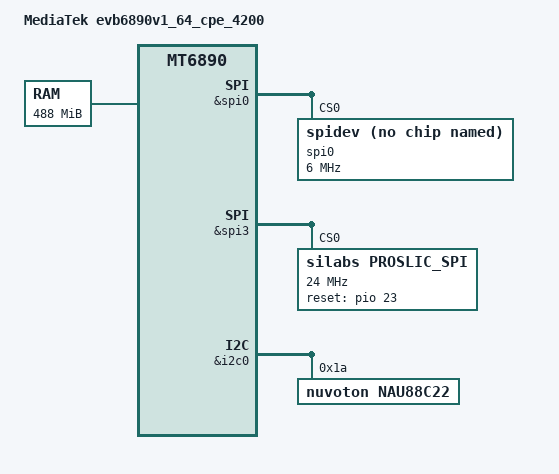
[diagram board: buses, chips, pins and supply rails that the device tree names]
// SPDX-License-Identifier: GPL-2.0
/*
 * Copyright (c) 2019 MediaTek Inc.
 */

/dts-v1/;
#include <dt-bindings/interrupt-controller/irq.h>
#include <dt-bindings/interrupt-controller/arm-gic.h>
#include "mt6890.dtsi"
#include "tcpc_config.dtsi"
#include "rt9467.dtsi"

&reserved_memory {
};

/ {
	model = "MediaTek evb6890v1_64_cpe_4200";
	compatible = "mediatek,evb6890v1_64_cpe_4200", "mediatek,mt6890";

	memory@40000000 {
		device_type = "memory";
		reg = <0 0x40000000 0 0x1e800000>;
	};

	chosen {
		bootargs = "console=tty0 console=ttyS0,921600n1 \
		init=/etc/preinit root=/dev/mmcblk0p32 rootwait \
		loglevel=8 \
		androidboot.selinux=permissive androidboot.hardware=mt6890 \
		initcall_debug=1 page_owner=on";

		atag,videolfb-fb_base_l = <0x7e605000>;
		atag,videolfb-fb_base_h = <0x0>;
		atag,videolfb-islcmfound = <1>;
		atag,videolfb-islcm_inited = <0>;
		atag,videolfb-fps= <6000>;
		atag,videolfb-vramSize= <0x1be0000>;
		atag,videolfb-lcmname=
			"nt35595_fhd_dsi_cmd_truly_nt50358_drv";
	};

	gsw: gsw@0 {
		compatible = "mediatek,mt753x";
		mediatek,ethsys = <&ethsys>;
		#address-cells = <1>;
		#size-cells = <0>;
	};

	subpmic_pmu_eint: subpmic_pmu_eint {
	};

	tcpc_pd: tcpc_pd_eint {
	};
};

/* BEGIN: Remove unused device tree information,modify by haowei.cheng*/
#if 0
&snps_mac {
	phy-mode ="rgmii-rxid";
	phy-handle = <&eth_phy0>;
	status = "disable";
	pinctrl-names = "default", "sleep";
	pinctrl-0 = <&eth_default>;
	pinctrl-1 = <&eth_sleep>;
	snps,reset-gpio = <&pio 24 GPIO_ACTIVE_LOW>;
	snps,reset-active-low;
	mdio {
		compatible = "snps,dwmac-mdio";
		#address-cells = <1>;
		#size-cells = <0>;
		eth_phy0: eth_phy0@5 {
			compatible = "ethernet-phy-ieee802.3-c22";
		};
		eth_phy1: eth_phy1@7 {
			compatible = "ethernet-phy-ieee802.3-c45";
			marvell,88q2110 = <1000 0>;
		};
		eth_phy2: eth_phy2@4 {
			compatible = "ethernet-phy-id0180.DD00";
		};
	};
};
#endif
/* END: Remove unused device tree information,modify by haowei.cheng */


/* BEGIN: support realtek eth phy,modify by haowei.cheng*/
&eth {
	pinctrl-names = "eth_gpio_default",
		"eth_smi_mdio_pinctl",
		"eth_smi_mdc_pinctl";
	pinctrl-0 = <&eth_gpio_default>;
	pinctrl-1 = <&eth_smi_mdio_pinctl>;
	pinctrl-2 = <&eth_smi_mdc_pinctl>;
	status = "okay";
	gmac0: mac@0 {
		compatible = "mediatek,eth-mac";
		fg360,phy_name = "aqr112c";
		reg = <0>;
		phy-mode = "sgmii";
		phy-handle = <&phy8>;
	};
	gmac1: mac@1 {
		compatible = "mediatek,eth-mac";
		reg = <1>;
		fg360,phy_name = "mt7531AE";
		phy-mode = "sgmii";
		fixed-link {
			speed = <1000>;
			full-duplex;
			pause;
		};
	};
	gmac3: mac@3 {
		compatible = "mediatek,eth-mac";
		fg360,phy_name = "rtl8221b";
		reg = <0>;
		phy-mode = "sgmii";
		phy-handle = <&phy1>;
	};
	gmac4: mac@4 {
		compatible = "mediatek,eth-mac";
		fg360,phy_name = "rtl8211fs";
		reg = <1>;
		phy-mode = "sgmii";
		phy-handle = <&phy3>;
	};
	gmac5: mac@5 {
		compatible = "mediatek,eth-mac_def";
		fg360,phy_name = "MAC0";
		reg = <0>;
		phy-mode = "sgmii";
		fixed-link {
			speed = <1000>;
			full-duplex;
			pause;
		};
	};
	gmac6: mac@6 {
		compatible = "mediatek,eth-mac_def";
		fg360,phy_name = "MAC1";
		reg = <1>;
		phy-mode = "sgmii";
		fixed-link {
			speed = <1000>;
			full-duplex;
			pause;
		};
	};

	mdio: mdio-bus {
		#address-cells = <1>;
		#size-cells = <0>;
		phy1reset-gpios = <&pio 66 0>;
		/*RTL8221B8*/
		phy1: phy@1 {
			reg = <1>;
			phy-mode = "sgmii";
			compatible = "ethernet-phy-ieee802.3-c22";
		};
		//RTL8211FS
		phy3: phy@3 {
			reg = <3>;
			phy-mode = "sgmii";
			compatible = "ethernet-phy-ieee802.3-c22";
		};
		//AQR112C
		phy8: phy@8 {
			reg = <8>;
			phy-mode = "sgmii";
			compatible = "ethernet-phy-ieee802.3-c45";
		};
		//MT7531
		phy31: phy@31 {
			reg = <31>;
			phy-mode = "sgmii";
			compatible = "ethernet-phy-ieee802.3-c22";
		};
	};
};
/* END: support realtek eth phy,modify by haowei.cheng*/


&gsw {
	mediatek,mdio = <&mdio>;
	mediatek,portmap = "llllw";
	mediatek,mdio_master_pinmux = <0>;
	reset-gpios = <&pio 66 0>;
	interrupt-parent = <&pio>;
	interrupts = <65 IRQ_TYPE_LEVEL_HIGH>;

	status = "okay";

	port5: port@5 {
		compatible = "mediatek,mt753x-port";
		reg = <5>;
		phy-mode = "sgmii";
		fixed-link {
			speed = <2500>;
			full-duplex;
		};
	};
};

&pcie0 {
	max-link-speed = <2>;
	pinctrl-names = "default";
	pinctrl-0 = <&pcie0_pins_default>;
	status = "okay";
};

&pcie1 {
	max-link-speed = <2>;
	pinctrl-names = "default";
	pinctrl-0 = <&pcie1_pins_default>;
	status = "okay";
};

&pcie2 {
	max-link-speed = <3>;
	pinctrl-names = "default";
	pinctrl-0 = <&pcie2_pins_default>;
	status = "okay";
};

&pcie3 {
	max-link-speed = <3>;
	pinctrl-names = "default";
	pinctrl-0 = <&pcie3_pins_default>;
	status = "okay";
};

/*
&odm {
	vibrator0:vibrator@0 {
		compatible = "mediatek,vibrator";
		vib_timer = <25>;
		vib_limit = <9>;
		vib_vol= <9>;
	};
};*/

/*begin: add by laizhenhao for audio pinctrl*/
/* AUDIO GPIO standardization */
&afe {
	pinctrl-names = "aud_dat_miso_off", "aud_dat_miso_on",
			"aud_dat_mosi_off", "aud_dat_mosi_on",
			"aud_gpio_i2s0_off", "aud_gpio_i2s0_on",
			"aud_gpio_i2s1_off", "aud_gpio_i2s1_on",
			"aud_gpio_i2s2_off", "aud_gpio_i2s2_on",
			"aud_gpio_i2s3_off", "aud_gpio_i2s3_on",
            "aud_gpio_i2s4_off", "aud_gpio_i2s4_on",
			"aud_gpio_i2s5_off", "aud_gpio_i2s5_on",
			"aud_gpio_i2s6_off", "aud_gpio_i2s6_on",
			"vow_dat_miso_off", "vow_dat_miso_on",
			"vow_clk_miso_off", "vow_clk_miso_on",
			"aud_gpio_proslic_off", "aud_gpio_proslic_on",
			"aud_gpio_tdm_off", "aud_gpio_tdm_on";
	pinctrl-0 = <&aud_dat_mosi_off>;
	pinctrl-1 = <&aud_dat_mosi_on>;
	pinctrl-2 = <&aud_dat_miso_off>;
	pinctrl-3 = <&aud_dat_miso_on>;
	pinctrl-4 = <&aud_gpio_i2s0_off>;
	pinctrl-5 = <&aud_gpio_i2s0_on>;
	pinctrl-6 = <&aud_gpio_i2s1_off>;
	pinctrl-7 = <&aud_gpio_i2s1_on>;
	pinctrl-8 = <&aud_gpio_i2s2_off>;
	pinctrl-9 = <&aud_gpio_i2s2_on>;
	pinctrl-10 = <&aud_gpio_i2s3_off>;
	pinctrl-11 = <&aud_gpio_i2s3_on>;
	pinctrl-12 = <&aud_gpio_i2s4_off>;
	pinctrl-13 = <&aud_gpio_i2s4_on>;
	pinctrl-14 = <&aud_gpio_i2s5_off>;
	pinctrl-15 = <&aud_gpio_i2s5_on>;
	pinctrl-16 = <&aud_gpio_i2s6_off>;
	pinctrl-17 = <&aud_gpio_i2s6_on>;
	pinctrl-18 = <&vow_dat_miso_off>;
	pinctrl-19 = <&vow_dat_miso_on>;
	pinctrl-20 = <&vow_clk_miso_off>;
	pinctrl-21 = <&vow_clk_miso_on>;
	pinctrl-22 = <&aud_gpio_proslic_off>;
	pinctrl-23 = <&aud_gpio_proslic_on>;
	pinctrl-24 = <&aud_gpio_tdm_off>;
	pinctrl-25 = <&aud_gpio_tdm_on>;
	status = "okay";
};

&pio {
	/* set audio pinctrl status */
	aud_dat_mosi_off: aud_dat_mosi_off {
	};
	aud_dat_mosi_on: aud_dat_mosi_on {
	};
	aud_dat_miso_off: aud_dat_miso_off {
	};
	aud_dat_miso_on: aud_dat_miso_on {
	};
	vow_dat_miso_off: vow_dat_miso_off {
	};
	vow_dat_miso_on: vow_dat_miso_on {
	};
	vow_clk_miso_off: vow_clk_miso_off {
	};
	vow_clk_miso_on: vow_clk_miso_on {
	};
	aud_gpio_i2s0_off: aud_gpio_i2s0_off {
		pins_cmd0_dat {
			pinmux = <PINMUX_GPIO230__FUNC_GPIO230>;
			input-enable;
			bias-pull-down;
		};
		pins_cmd1_dat {
			pinmux = <PINMUX_GPIO231__FUNC_GPIO231>;
			input-enable;
			bias-pull-down;
		};
		pins_cmd2_dat {
			pinmux = <PINMUX_GPIO232__FUNC_GPIO232>;
			input-enable;
			bias-pull-down;
		};
		pins_cmd3_dat {
			pinmux = <PINMUX_GPIO233__FUNC_GPIO233>;
			input-enable;
			bias-pull-down;
		};
	};
	aud_gpio_i2s0_on: aud_gpio_i2s0_on {
		pins_cmd0_dat {
			pinmux = <PINMUX_GPIO230__FUNC_I2S0_MCK>;
			input-schmitt-enable;
			bias-disable;
		};
		pins_cmd1_dat {
			pinmux = <PINMUX_GPIO231__FUNC_I2S0_BCK>;
			input-schmitt-enable;
			bias-disable;
		};
		pins_cmd2_dat {
			pinmux = <PINMUX_GPIO232__FUNC_I2S0_LRCK>;
			input-schmitt-enable;
			bias-disable;
		};
		pins_cmd3_dat {
			pinmux = <PINMUX_GPIO233__FUNC_I2S0_DI>;
			input-schmitt-enable;
			bias-disable;
		};
	};
	aud_gpio_i2s1_off: aud_gpio_i2s1_off {
		pins_cmd0_dat {
			pinmux = <PINMUX_GPIO91__FUNC_GPIO91>;
			input-enable;
			bias-pull-down;
		};
		pins_cmd1_dat {
			pinmux = <PINMUX_GPIO92__FUNC_GPIO92>;
			input-enable;
			bias-pull-down;
		};
		pins_cmd2_dat {
			pinmux = <PINMUX_GPIO93__FUNC_GPIO93>;
			input-enable;
			bias-pull-down;
		};
		pins_cmd3_dat {
			pinmux = <PINMUX_GPIO95__FUNC_GPIO95>;
			input-enable;
			bias-pull-down;
		};
	};
	aud_gpio_i2s1_on: aud_gpio_i2s1_on {
		pins_cmd0_dat {
			pinmux = <PINMUX_GPIO91__FUNC_I2S2_MCK>;
			input-schmitt-enable;
			bias-disable;
		};
		pins_cmd1_dat {
			pinmux = <PINMUX_GPIO92__FUNC_I2S2_BCK>;
			input-schmitt-enable;
			bias-disable;
		};
		pins_cmd2_dat {
			pinmux = <PINMUX_GPIO93__FUNC_I2S2_LRCK>;
			input-schmitt-enable;
			bias-disable;
		};
		pins_cmd3_dat {
			pinmux = <PINMUX_GPIO95__FUNC_I2S1_DO>;
			input-schmitt-enable;
			bias-disable;
		};
	};
	aud_gpio_i2s2_off: aud_gpio_i2s2_off {
		pins_cmd0_dat {
			pinmux = <PINMUX_GPIO91__FUNC_GPIO91>;
			input-enable;
			bias-pull-down;
		};
		pins_cmd1_dat {
			pinmux = <PINMUX_GPIO92__FUNC_GPIO92>;
			input-enable;
			bias-pull-down;
		};
		pins_cmd2_dat {
			pinmux = <PINMUX_GPIO93__FUNC_GPIO93>;
			input-enable;
			bias-pull-down;
		};
		pins_cmd3_dat {
			pinmux = <PINMUX_GPIO94__FUNC_GPIO94>;
			input-enable;
			bias-pull-down;
		};
	};
	aud_gpio_i2s2_on: aud_gpio_i2s2_on {
		pins_cmd0_dat {
			pinmux = <PINMUX_GPIO91__FUNC_I2S2_MCK>;
			input-schmitt-enable;
			bias-disable;
		};
		pins_cmd1_dat {
			pinmux = <PINMUX_GPIO92__FUNC_I2S2_BCK>;
			input-schmitt-enable;
			bias-disable;
		};
		pins_cmd2_dat {
			pinmux = <PINMUX_GPIO93__FUNC_I2S2_LRCK>;
			input-schmitt-enable;
			bias-disable;
		};
		pins_cmd3_dat {
			pinmux = <PINMUX_GPIO94__FUNC_I2S2_DI>;
			input-schmitt-enable;
			bias-disable;
		};
	};
	aud_gpio_i2s3_off: aud_gpio_i2s3_off {
		pins_cmd0_dat {
			pinmux = <PINMUX_GPIO230__FUNC_GPIO230>;
			input-enable;
			bias-pull-down;
		};
		pins_cmd1_dat {
			pinmux = <PINMUX_GPIO231__FUNC_GPIO231>;
			input-enable;
			bias-pull-down;
		};
		pins_cmd2_dat {
			pinmux = <PINMUX_GPIO232__FUNC_GPIO232>;
			input-enable;
			bias-pull-down;
		};
		pins_cmd3_dat {
			pinmux = <PINMUX_GPIO234__FUNC_GPIO234>;
			input-enable;
			bias-pull-down;
		};
	};
	aud_gpio_i2s3_on: aud_gpio_i2s3_on {
		pins_cmd0_dat {
			pinmux = <PINMUX_GPIO230__FUNC_I2S0_MCK>;
			input-schmitt-enable;
			bias-disable;
		};
		pins_cmd1_dat {
			pinmux = <PINMUX_GPIO231__FUNC_I2S0_BCK>;
			input-schmitt-enable;
			bias-disable;
		};
		pins_cmd2_dat {
			pinmux = <PINMUX_GPIO232__FUNC_I2S0_LRCK>;
			input-schmitt-enable;
			bias-disable;
		};
		pins_cmd3_dat {
			pinmux = <PINMUX_GPIO234__FUNC_I2S0_DO>;
			input-schmitt-enable;
			bias-disable;
		};
	};
	aud_gpio_i2s4_off: aud_gpio_i2s4_off {
	};
	aud_gpio_i2s4_on: aud_gpio_i2s4_on {
	};
	aud_gpio_i2s5_off: aud_gpio_i2s5_off {
	};
	aud_gpio_i2s5_on: aud_gpio_i2s5_on {
	};
	aud_gpio_i2s6_off: aud_gpio_i2s6_off {
	};
	aud_gpio_i2s6_on: aud_gpio_i2s6_on {
	};

	aud_gpio_proslic_off: aud_gpio_proslic_off {
		pins_cmd_dat {
			pinmux = <PINMUX_GPIO231__FUNC_GPIO231>,
				 <PINMUX_GPIO232__FUNC_GPIO232>,
				 <PINMUX_GPIO233__FUNC_GPIO233>,
				 <PINMUX_GPIO234__FUNC_GPIO234>;
		};
	};
	aud_gpio_proslic_on: aud_gpio_proslic_on {
		pins_cmd_dat {
			pinmux = <PINMUX_GPIO231__FUNC_PCM1_CLK>,
				 <PINMUX_GPIO232__FUNC_PCM1_SYNC>,
				 <PINMUX_GPIO233__FUNC_PCM1_DI>,
				 <PINMUX_GPIO234__FUNC_PCM1_DO>;
		};
	};
	aud_gpio_tdm_off: aud_gpio_tdm_off {
		pins_cmd_dat {
			pinmux = <PINMUX_GPIO199__FUNC_GPIO199>,
				 <PINMUX_GPIO200__FUNC_GPIO200>,
				 <PINMUX_GPIO201__FUNC_GPIO201>,
				 <PINMUX_GPIO202__FUNC_GPIO202>,
				 <PINMUX_GPIO203__FUNC_GPIO203>,
				 <PINMUX_GPIO204__FUNC_GPIO204>,
				 <PINMUX_GPIO205__FUNC_GPIO205>;
		};
	};
	aud_gpio_tdm_on: aud_gpio_tdm_on {
		pins_cmd_dat {
			pinmux = <PINMUX_GPIO199__FUNC_TDM_LRCK>,
				 <PINMUX_GPIO200__FUNC_TDM_BCK>,
				 <PINMUX_GPIO201__FUNC_TDM_MCK>,
				 <PINMUX_GPIO202__FUNC_TDM_DATA0>,
				 <PINMUX_GPIO203__FUNC_TDM_DATA1>,
				 <PINMUX_GPIO204__FUNC_TDM_DATA2>,
				 <PINMUX_GPIO205__FUNC_TDM_DATA3>;
		};
	};
};
/* AUDIO GPIO standardization end */

/*end: add by laizhenhao for audio pinctrl*/

/* DISPSYS GPIO standardization */
#if 0
&pio {
	mtkfb_pins_lcd_bias_enp1: lcd_bias_enp1_gpio {
		pins_cmd_dat {
			pinmux = <PINMUX_GPIO28__FUNC_GPIO28>;
			slew-rate = <1>;
			output-high;
		};
	};

	mtkfb_pins_lcd_bias_enp0: lcd_bias_enp0_gpio {
		pins_cmd_dat {
			pinmux = <PINMUX_GPIO28__FUNC_GPIO28>;
			slew-rate = <1>;
			output-low;
		};
	};

	mtkfb_pins_lcd_bias_enn1: lcd_bias_enn1_gpio {
		pins_cmd_dat {
			pinmux = <PINMUX_GPIO29__FUNC_GPIO29>;
			slew-rate = <1>;
			output-high;
		};
	};

	mtkfb_pins_lcd_bias_enn0: lcd_bias_enn0_gpio {
		pins_cmd_dat {
			pinmux = <PINMUX_GPIO29__FUNC_GPIO29>;
			slew-rate = <1>;
			output-low;
		};
	};

	mtkfb_pins_lcm_rst_out1_gpio: lcm_rst_out1_gpio {
		pins_cmd_dat {
			pinmux = <PINMUX_GPIO42__FUNC_GPIO42>;
			slew-rate = <1>;
			output-high;
		};
	};

	mtkfb_pins_lcm_rst_out0_gpio: lcm_rst_out0_gpio {
		pins_cmd_dat {
			pinmux = <PINMUX_GPIO42__FUNC_GPIO42>;
			slew-rate = <1>;
			output-low;
		};
	};
	mtkfb_pins_lcm_dsi_te: lcm_dsi_te {
		pins_cmd_dat {
			pinmux = <PINMUX_GPIO41__FUNC_DSI_TE>;
		};
	};
};

&mtkfb {
	pinctrl-names = "lcd_bias_enp1_gpio", "lcd_bias_enp0_gpio",
		"lcd_bias_enn1_gpio", "lcd_bias_enn0_gpio",
		"lcm_rst_out1_gpio", "lcm_rst_out0_gpio",
		"mode_te_te";
	pinctrl-0 = <&mtkfb_pins_lcd_bias_enp1>;
	pinctrl-1 = <&mtkfb_pins_lcd_bias_enp0>;
	pinctrl-2 = <&mtkfb_pins_lcd_bias_enn1>;
	pinctrl-3 = <&mtkfb_pins_lcd_bias_enn0>;
	pinctrl-4 = <&mtkfb_pins_lcm_rst_out1_gpio>;
	pinctrl-5 = <&mtkfb_pins_lcm_rst_out0_gpio>;
	pinctrl-6 = <&mtkfb_pins_lcm_dsi_te>;
	status = "okay";
};
#endif


/*<!-- BEGIN: fibocom modified-->  */
&spi0 {
	#address-cells = <1>;
	#size-cells = <0>;
	status = "okay";
	spi0@0 {
		compatible = "rohm,dh2228fv";
		reg = <0>;
		spi-max-frequency = <6000000>;
	};
};
/*<!-- END: fibocom modified-->  */


&spi3 {
	status = "okay";
	#address-cells=<1>;
	#size-cells=<0>;

	proslic_spi: proslic_spi@0 {
		compatible = "silabs,proslic_spi";
		reg = <0>;
		spi-max-frequency = <24000000>;
		spi-cpha = <1>;
		spi-cpol = <1>;
		channel_count = <1>;
		debug_level = <7>;       /* 1 = TRC, 2 = DBG, 4 = ERR */
		reset_gpio = <&pio 23 0>;       /* Hz */
		ig,enable-spi = <1>;                /* 1: Enable, 0: Disable */
	};
};

/*begin: modify audio codec function,by laizhenhao,2021.05.31*/
&i2c0 {
	status = "okay";
	#address-cells=<1>;
	#size-cells=<0>;

	nau88c22: nau88c22@1a {
		compatible = "nuvoton,nau88c22";
		reg = <0x1a>;
	};

};
/*end: modify audio codec function,by laizhenhao,2021.05.31*/

/* GPS GPIO standardization start */
#if 1
&pio {

	eth_gpio_default: mdio_default {
		mux {
			pinmux = <PINMUX_GPIO61__FUNC_GPIO61>;
		};
	};

	eth_smi_mdio_pinctl: eth_smi_mdio_pinctl {
		mux {
			pinmux = <PINMUX_GPIO61__FUNC_SMI_MDIO>;
		};
	};

	eth_smi_mdc_pinctl: eth_smi_mdc_pinctl {
		mux {
			pinmux = <PINMUX_GPIO62__FUNC_SMI_MDC>;
		};
	};

/* BEGIN: Remove unused device tree information,modify by haowei.cheng*/
#if 0
	eth_default: eth_default {
		txd_pins {
			pinmux = <PINMUX_GPIO8__FUNC_GBE_TXD3>,
				 <PINMUX_GPIO9__FUNC_GBE_TXD2>,
				 <PINMUX_GPIO10__FUNC_GBE_TXD1>,
				 <PINMUX_GPIO11__FUNC_GBE_TXD0>;
			drive-strength = <MTK_DRIVE_8mA>;
		};
		cc_pins {
			pinmux = <PINMUX_GPIO18__FUNC_GBE_TXC>,
				 <PINMUX_GPIO21__FUNC_GBE_TXEN>,
				 <PINMUX_GPIO20__FUNC_GBE_RXDV>,
				 <PINMUX_GPIO19__FUNC_GBE_RXC>;
			drive-strength = <MTK_DRIVE_8mA>;
		};
		rxd_pins {
			pinmux = <PINMUX_GPIO14__FUNC_GBE_RXD3>,
				 <PINMUX_GPIO15__FUNC_GBE_RXD2>,
				 <PINMUX_GPIO16__FUNC_GBE_RXD1>,
				 <PINMUX_GPIO17__FUNC_GBE_RXD0>;
		};
		mdio_pins {
			pinmux = <PINMUX_GPIO12__FUNC_GBE_MDC>,
				 <PINMUX_GPIO13__FUNC_GBE_MDIO>;
			input-enable;
		};
	};

	eth_sleep: eth_sleep {
		txd_pins {
			pinmux = <PINMUX_GPIO8__FUNC_GPIO8>,
				 <PINMUX_GPIO9__FUNC_GPIO9>,
				 <PINMUX_GPIO10__FUNC_GPIO10>,
				 <PINMUX_GPIO11__FUNC_GPIO11>;
		};
		cc_pins {
			pinmux = <PINMUX_GPIO18__FUNC_GPIO18>,
				 <PINMUX_GPIO21__FUNC_GPIO21>,
				 <PINMUX_GPIO20__FUNC_GPIO20>,
				 <PINMUX_GPIO19__FUNC_GPIO19>;
		};
		rxd_pins {
			pinmux = <PINMUX_GPIO14__FUNC_GPIO14>,
				 <PINMUX_GPIO15__FUNC_GPIO15>,
				 <PINMUX_GPIO16__FUNC_GPIO16>,
				 <PINMUX_GPIO17__FUNC_GPIO17>;
		};
		mdio_pins {
			pinmux = <PINMUX_GPIO12__FUNC_GPIO12>,
				 <PINMUX_GPIO13__FUNC_GPIO13>;
			input-disable;
			bias-disable;
		};
	};
#endif
/*END: Remove unused device tree information,modify by haowei.cheng*/

	pcie0_pins_default: pcie0-default {
		mux {
			pinmux = <PINMUX_GPIO67__FUNC_PCIE_PERESET_N_0P>,
			         <PINMUX_GPIO68__FUNC_PCIE_WAKE_N_0P>,
				 <PINMUX_GPIO69__FUNC_PCIE_CLKREQ_N_0P>;
			bias-pull-up;
		};
	};

	pcie1_pins_default: pcie1-default {
		mux {
			pinmux = <PINMUX_GPIO70__FUNC_PCIE_PERESET_N_1P>,
			         <PINMUX_GPIO71__FUNC_PCIE_WAKE_N_1P>,
				 <PINMUX_GPIO72__FUNC_PCIE_CLKREQ_N_1P>;
			bias-pull-up;
		};
	};

	pcie2_pins_default: pcie2-default {
		mux {
			pinmux = <PINMUX_GPIO73__FUNC_PCIE_PERESET_N_2P>,
			         <PINMUX_GPIO74__FUNC_PCIE_WAKE_N_2P>,
				 <PINMUX_GPIO75__FUNC_PCIE_CLKREQ_N_2P>;
			bias-pull-up;
		};
	};

	pcie3_pins_default: pcie3-default {
		mux {
			pinmux = <PINMUX_GPIO76__FUNC_PCIE_PERESET_N_3P>,
			         <PINMUX_GPIO77__FUNC_PCIE_WAKE_N_3P>,
				 <PINMUX_GPIO78__FUNC_PCIE_CLKREQ_N_3P>;
			bias-pull-up;
		};
	};

	gps_pins_default: gps_default {
	};

	gps_l1_lna_pins_ol: gps_l1_lna@0 {
		pins_cmd_dat {
			pinmux = <PINMUX_GPIO125__FUNC_GPIO125>;
			output-low;
		};
	};
	gps_l1_lna_pins_dsp_ctrl: gps_l1_lna@1 {
		pins_cmd_dat {
			pinmux = <PINMUX_GPIO125__FUNC_GPS_L1_ELNA_EN>;
		};
	};
	gps_l1_lna_pins_oh: gps_l1_lna@2 {
		pins_cmd_dat {
			pinmux = <PINMUX_GPIO125__FUNC_GPIO125>;
			output-high;
		};
	};

	gps_l5_lna_pins_ol: gps_l5_lna@0 {
		pins_cmd_dat {
			pinmux = <PINMUX_GPIO126__FUNC_GPIO126>;
			output-low;
		};
	};
	gps_l5_lna_pins_dsp_ctrl: gps_l5_lna@1 {
		pins_cmd_dat {
			pinmux = <PINMUX_GPIO126__FUNC_GPS_L5_ELNA_EN>;
		};
	};
	gps_l5_lna_pins_oh: gps_l5_lna@2 {
		pins_cmd_dat {
			pinmux = <PINMUX_GPIO126__FUNC_GPIO126>;
			output-high;
		};
	};
};

&gps {
	pinctrl-names = "default",
		"gps_l1_lna_disable",
		"gps_l1_lna_dsp_ctrl",
		"gps_l1_lna_enable",
		"gps_l5_lna_disable",
		"gps_l5_lna_dsp_ctrl",
		"gps_l5_lna_enable";
	pinctrl-0 = <&gps_pins_default>;
	pinctrl-1 = <&gps_l1_lna_pins_ol>;
	pinctrl-2 = <&gps_l1_lna_pins_dsp_ctrl>;
	pinctrl-3 = <&gps_l1_lna_pins_oh>;
	pinctrl-4 = <&gps_l5_lna_pins_ol>;
	pinctrl-5 = <&gps_l5_lna_pins_dsp_ctrl>;
	pinctrl-6 = <&gps_l5_lna_pins_oh>;
	status = "okay";
};
#endif
/* GPS GPIO standardization end */

/* usb typec swtich */
&pio {
	c1_active: c1_high {
		pins_cmd_dat {
			pinmux = <PINMUX_GPIO95__FUNC_GPIO95>;
			output-high;
		};
	};

	c2_active: c2_highz {
		pins_cmd_dat {
			pinmux = <PINMUX_GPIO94__FUNC_GPIO94>;
			input-enable;
			bias-disable;
		};
	};

	c1_sleep: c1_low {
		pins_cmd_dat {
			pinmux = <PINMUX_GPIO95__FUNC_GPIO95>;
			output-low;
		};
	};

	c2_sleep: c2_low {
		pins_cmd_dat {
			pinmux = <PINMUX_GPIO94__FUNC_GPIO94>;
			output-low;
		};
	};

	sel_up: sel_high {
		pins_cmd_dat {
			pinmux = <PINMUX_GPIO93__FUNC_GPIO93>;
			output-high;
		};
	};

	sel_down: sel_low {
		pins_cmd_dat {
			pinmux = <PINMUX_GPIO93__FUNC_GPIO93>;
			output-low;
		};
	};

	sw_enable: sw_enable {
		pins_cmd_dat {
			pinmux = <PINMUX_GPIO92__FUNC_GPIO92>;
			output-low;
		};
	};

	sw_disable: sw_disable {
		pins_cmd_dat {
			pinmux = <PINMUX_GPIO92__FUNC_GPIO92>;
			output-low;
		};
	};
	kpd_gpios_def_cfg: kpdgpiodefault {
		pins_cmd_dat {
			pinmux = <PINMUX_GPIO114__FUNC_KPROW0>,
				<PINMUX_GPIO115__FUNC_KPROW1>;
			mediatek,pull-down-adv = <MTK_PUPD_SET_R1R0_01>;
			output-low;
			input-schmitt-enable;
		};
	};
};

&keypad {
	mediatek,key-debounce-ms = <1024>;
	/*HW Keycode [0~71] -> Linux Keycode*/
	mediatek,hw-map-num = <72>;
	mediatek,hw-init-map = <0 0 114 0 0 0 0 0 0 0 0 0 0 0 0 115 0 0 0 0 0 0 0
		0 0 0 0 0 112 0 0 0 0 0 0 0 0 0 0 0 0 0 0 0 0 0 0 0 0 0 0 0 0 0 0
		0 0 0 0 0 0 0 0 0 0 0 0 0 0 0 0 0 >;
	status = "okay";
	pinctrl-names = "default";
	pinctrl-0 = <&kpd_gpios_def_cfg>;
};

&typec_switch {
	switch-names = "ptn36241g","fusb304";
	pinctrl-names = "c1_active", "c1_sleep",
		"c2_active", "c2_sleep",
		"sel_up", "sel_down",
		"enable", "disable";
	/* ptn36241g */
	pinctrl-0 = <&c1_active>;
	pinctrl-1 = <&c1_sleep>;
	pinctrl-2 = <&c2_active>;
	pinctrl-3 = <&c2_sleep>;
	/* fusb304 */
	pinctrl-4 = <&sel_up>;
	pinctrl-5 = <&sel_down>;
	pinctrl-6 = <&sw_enable>;
	pinctrl-7 = <&sw_disable>;
};

&extcon_usb {
	vbus-supply = <&otg_vbus>;
	vbus-voltage = <5000000>;
	vbus-current = <1800000>;
};

&rt1711_typec {
	switch = <&typec_switch>;
};

/*BEGIN: add by ranxuefeng for HW version*/
&fibocom_pcb_version_ctrl_pin {
	status = "okay";
	pinctrl-names = "pcb_pin_1st_pullup", "pcb_pin_1st_pulldown", "pcb_pin_2nd_pullup", "pcb_pin_2nd_pulldown";
	pinctrl-0 = <&pcb_pin_1st_pullup_default>;
	pinctrl-1 = <&pcb_pin_1st_pulldown_default>;
	pinctrl-2 = <&pcb_pin_2nd_pullup_default>;
	pinctrl-3 = <&pcb_pin_2nd_pulldown_default>;
};
	
&pio {
	pcb_pin_1st_pullup_default: pcb_pin_1st_pullup-config {
		pins_cmd_dat {
			pinmux = <PINMUX_GPIO151__FUNC_GPIO151>;
			bias-pull-up;     
		};
	};
	
	pcb_pin_1st_pulldown_default: pcb_pin_1st_pulldown-config {
		pins_cmd_dat {
			pinmux = <PINMUX_GPIO151__FUNC_GPIO151>;
			bias-pull-down;     
		};
	};
	
	pcb_pin_2nd_pullup_default: pcb_pin_2nd_pullup-config {
		pins_cmd_dat {
			pinmux = <PINMUX_GPIO163__FUNC_GPIO163>;
			bias-pull-up;     
		};
	};
	
	pcb_pin_2nd_pulldown_default: pcb_pin_2nd_pulldown-config {
		pins_cmd_dat {
			pinmux = <PINMUX_GPIO163__FUNC_GPIO163>;
			bias-pull-down;     
		};
	};
	
};
/*END: add by ranxuefeng for HW version*/

/*BEGIN: add by chenmaming for rf set*/
&fibocom_rf_set_ctrl_pin {
	status = "okay";
	pinctrl-names = "rf_set_pin_1st_pullup", "rf_set_pin_1st_pulldown", "rf_set_pin_2nd_pullup", "rf_set_pin_2nd_pulldown";
	pinctrl-0 = <&rf_set_pin_1st_pullup_default>;
	pinctrl-1 = <&rf_set_pin_1st_pulldown_default>;
	pinctrl-2 = <&rf_set_pin_2nd_pullup_default>;
	pinctrl-3 = <&rf_set_pin_2nd_pulldown_default>;
};
	
&pio {
	rf_set_pin_1st_pullup_default: rf_set_pin_1st_pullup-config {
		pins_cmd_dat {
			pinmux = <PINMUX_GPIO142__FUNC_GPIO142>;
			bias-pull-up;     
		};
	};
	
	rf_set_pin_1st_pulldown_default: rf_set_pin_1st_pulldown-config {
		pins_cmd_dat {
			pinmux = <PINMUX_GPIO142__FUNC_GPIO142>;
			bias-pull-down;     
		};
	};
	
	rf_set_pin_2nd_pullup_default: rf_set_pin_2nd_pullup-config {
		pins_cmd_dat {
			pinmux = <PINMUX_GPIO143__FUNC_GPIO143>;
			bias-pull-up;     
		};
	};
	
	rf_set_pin_2nd_pulldown_default: rf_set_pin_2nd_pulldown-config {
		pins_cmd_dat {
			pinmux = <PINMUX_GPIO143__FUNC_GPIO143>;
			bias-pull-down;     
		};
	};
	
};
/*END: add by chenmaming for rf set*/

/*************************
 * PMIC LED DTSI File
*************************/
// Begin: FG360 boot time management, Add by Shuai Liu, 2021.06.11
&pmic {
	mt6330-led {
		compatible = "mediatek,mt6330_leds";
		Isink1 {
			reg = <1>;
			label = "led9515:green:cellular-radio";
			linux,default-trigger = "none";
			default-state = "off";
		};
	};
};
// End: FG360 boot time management, Add by Shuai Liu, 2021.06.11

&gpio_leds {
	    led0 {
            label = "wifi_led";
            gpios = <&pio 4 GPIO_ACTIVE_HIGH>;
            linux,default-trigger = "none";
            default-state = "off";
        };
	    led1 {
            label = "status_led";
            gpios = <&pio 22 GPIO_ACTIVE_HIGH>;
            linux,default-trigger = "none";
            default-state = "off";
        };
	    led2 {
            label = "5g_led";
            gpios = <&pio 8 GPIO_ACTIVE_HIGH>;
            linux,default-trigger = "none";
            default-state = "off";
        };
	    led3 {
            label = "4g_led";
            gpios = <&pio 5 GPIO_ACTIVE_HIGH>;
            linux,default-trigger = "none";
            default-state = "off";
        };
};

/*begin: add for RST WPS button by laizhenhao,2021.3.27*/
&gpio_keys {
	button0 {
		label = "RST";
		gpios = <&pio 7 GPIO_ACTIVE_LOW>;
		linux,code = <246>;
	};
	button1 {
		label = "WPS";
		gpios = <&pio 20 GPIO_ACTIVE_LOW>;
		linux,code = <115>;
	};
};
/*end: add for RST WPS button by laizhenhao,2021.3.27*/

#include <mediatek/evb6890v1_64_cpe_4200/cust.dtsi>
/*End of this file, DO NOT ADD ANYTHING HERE*/
